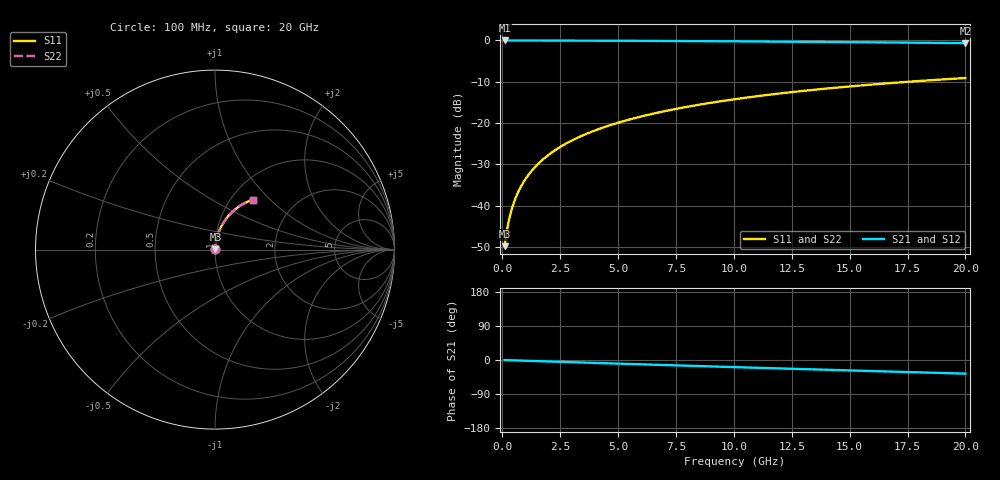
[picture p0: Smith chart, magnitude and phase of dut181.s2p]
! Touchstone file exported from HFSS 2026.1.0
!  File:  C:/ffzhzh/LocalFiles/Ansys_Project_Files/temp_train_BSMRDL_181_1782987204_41620.aedt
!  Generated:  06:15:28 PM Jul  2, 2026
!  Design:  BSMRDL
!  Project:  temp_train_BSMRDL_181_1782987204_41620
! Variables:
!  h_bsmrdl = 4.3um
!  h_ox = 20um
!  h_rdl = 5um
!  h_sub = 80um
!  h_tmrdl = 5um
!  h_tsv = 80um
!  h_via = 3um
!  l_bsmrdl = 505um
!  l_sub = 905um
!  l_tmrdl = 200um
!  m_sub = 200um
!  pitch = 46.33um
!  r_tsv = 6um
!  s_tmrdl = 10um
!  w_bsmrdl = 18.64um
!  w_sub = 500um
!  w_tmrdl = 12um
!  x_tsv_center1 = 206um
!  x_tsv_center2 = 729.64um
!  x_tsv_center3 = 941.64um
!  x_tsv_center4 = 1465.28um
!  x_tsv_center5 = 1677.28um
!  x_tsv_center6 = 2200.92um
# GHz S MA R 50.000000
! Terminal data exported
! Port[1] = BSM_RDL1_1_T1
! Port[2] = BSM_RDL1_1_T2
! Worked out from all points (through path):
!   200 points, 100 MHz to 20 GHz, reference 50 ohm
!   highest |S21| = -0.02 dB at 100 MHz (marker M1); lowest = -0.7 dB at 20 GHz (marker M2)
!   group delay of S21, straight-line fit = 4.99 ps
!   lowest |S11| = -49.8 dB at 100 MHz (marker M3), VSWR 1.01, Z = 50.2 + j0.222 ohm
!   |S11| at or under -10 dB: start of sweep to 17.54 GHz
!   |S22| runs from -49.8 to -9.1 dB; largest |S21 - S12| = 2.7e-15
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0.1  0.003253 42.8  0.9976 -0.2  0.9976 -0.2  0.003253 42.8
! Gamma 0 0 0 0
! Port Impedance 50 0 50 0
0.2  0.005038 60.1  0.9975 -0.4  0.9975 -0.4  0.005038 60.1
0.3  0.006993 67.7  0.9974 -0.6  0.9974 -0.6  0.006992 67.7
0.4  0.008977 71.8  0.9973 -0.8  0.9973 -0.8  0.008976 71.8
0.5  0.01097 74.4  0.9972 -1.0  0.9972 -1.0  0.01097 74.4
0.6  0.01297 76.2  0.9971 -1.2  0.9971 -1.2  0.01297 76.2
0.8  0.01699 78.5  0.997 -1.6  0.997 -1.6  0.01699 78.5
1.1  0.02305 80.3  0.9968 -2.1  0.9968 -2.1  0.02305 80.3
1.5  0.03117 81.2  0.9964 -2.9  0.9964 -2.9  0.03117 81.2
1.8  0.03727 81.4  0.9961 -3.5  0.9961 -3.5  0.03727 81.5
2.1  0.04335 81.4  0.9957 -4.1  0.9957 -4.1  0.04335 81.4
2.7  0.05548 81.0  0.9948 -5.2  0.9948 -5.2  0.05548 81.0
3.5  0.0715 79.9  0.9933 -6.7  0.9933 -6.7  0.0715 80.0
4.2  0.08536 78.9  0.9918 -8.1  0.9918 -8.1  0.08536 78.9
5  0.101 77.6  0.9899 -9.6  0.9899 -9.6  0.101 77.6
5.9  0.1183 76.1  0.9874 -11.3  0.9874 -11.3  0.1183 76.1
6.8  0.1354 74.5  0.9848 -12.9  0.9848 -12.9  0.1354 74.5
8.3  0.1632 71.9  0.9798 -15.7  0.9798 -15.7  0.1632 72.0
10.1  0.1956 68.9  0.9732 -18.9  0.9732 -18.9  0.1956 68.9
13.4  0.2518 63.3  0.9592 -24.8  0.9592 -24.8  0.2518 63.3
16.7  0.3037 57.8  0.9435 -30.5  0.9435 -30.5  0.3037 57.8
20  0.3508 52.5  0.9266 -35.9  0.9266 -35.9  0.3509 52.5
